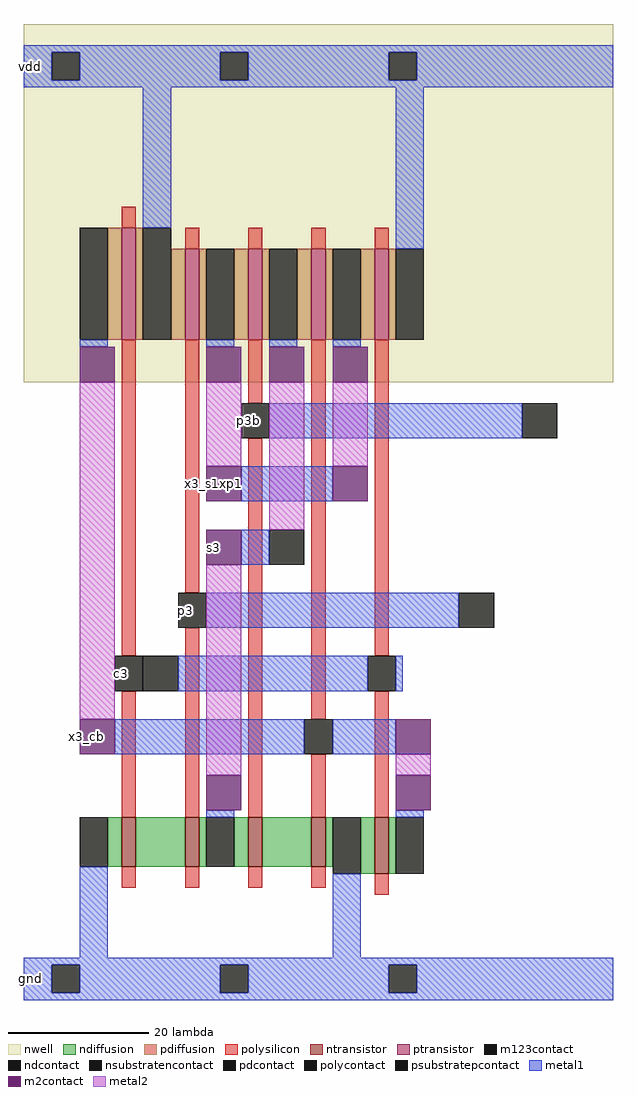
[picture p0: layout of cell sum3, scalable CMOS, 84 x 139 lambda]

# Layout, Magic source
magic
tech scmos
<< nwell >>
rect 0 88 84 139
<< ntransistor >>
rect 14 19 16 26
rect 23 19 25 26
rect 32 19 34 26
rect 41 19 43 26
rect 50 18 52 26
<< ptransistor >>
rect 14 94 16 110
rect 23 94 25 107
rect 32 94 34 107
rect 41 94 43 107
rect 50 94 52 107
<< ndiffusion >>
rect 12 19 14 26
rect 16 19 23 26
rect 25 19 26 26
rect 30 19 32 26
rect 34 19 41 26
rect 43 19 44 26
rect 48 18 50 26
rect 52 18 53 26
<< pdiffusion >>
rect 12 94 14 110
rect 16 94 17 110
rect 21 94 23 107
rect 25 94 26 107
rect 30 94 32 107
rect 34 94 35 107
rect 39 94 41 107
rect 43 94 44 107
rect 48 94 50 107
rect 52 94 53 107
<< ndcontact >>
rect 8 19 12 26
rect 26 19 30 26
rect 44 18 48 26
rect 53 18 57 26
<< pdcontact >>
rect 8 94 12 110
rect 17 94 21 110
rect 26 94 30 107
rect 35 94 39 107
rect 44 94 48 107
rect 53 94 57 107
<< psubstratepcontact >>
rect 4 1 8 5
rect 28 1 32 5
rect 52 1 56 5
<< nsubstratencontact >>
rect 4 131 8 135
rect 28 131 32 135
rect 52 131 56 135
<< polysilicon >>
rect 14 110 16 113
rect 23 107 25 110
rect 32 107 34 110
rect 41 107 43 110
rect 50 107 52 110
rect 14 49 16 94
rect 23 58 25 94
rect 32 85 34 94
rect 14 26 16 44
rect 23 26 25 53
rect 32 26 34 80
rect 41 40 43 94
rect 50 49 52 94
rect 41 26 43 35
rect 50 26 52 44
rect 14 16 16 19
rect 23 16 25 19
rect 32 16 34 19
rect 41 16 43 19
rect 50 15 52 18
<< polycontact >>
rect 31 80 35 85
rect 22 53 26 58
rect 13 44 17 49
rect 49 44 53 49
rect 40 35 44 40
<< metal1 >>
rect 0 135 84 136
rect 0 131 4 135
rect 8 131 28 135
rect 32 131 52 135
rect 56 131 84 135
rect 0 130 84 131
rect 17 110 21 130
rect 53 107 57 130
rect 8 93 12 94
rect 26 93 30 94
rect 35 93 39 94
rect 44 93 48 94
rect 35 80 71 85
rect 31 71 44 76
rect 31 62 35 67
rect 26 53 62 58
rect 22 44 49 49
rect 53 44 54 49
rect 13 35 40 40
rect 44 35 53 40
rect 26 26 30 27
rect 53 26 57 27
rect 8 6 12 19
rect 44 6 48 18
rect 0 5 84 6
rect 0 1 4 5
rect 8 1 28 5
rect 32 1 52 5
rect 56 1 84 5
rect 0 0 84 1
<< m2contact >>
rect 8 88 13 93
rect 26 88 31 93
rect 35 88 40 93
rect 44 88 49 93
rect 26 71 31 76
rect 44 71 49 76
rect 26 62 31 67
rect 8 35 13 40
rect 53 35 58 40
rect 26 27 31 32
rect 53 27 58 32
<< metal2 >>
rect 8 40 13 88
rect 26 76 31 88
rect 35 67 40 88
rect 44 76 49 88
rect 26 32 31 62
rect 53 32 58 35
<< m123contact >>
rect 71 80 76 85
rect 35 62 40 67
rect 17 44 22 49
rect 62 53 67 58
<< labels >>
rlabel metal1 13 44 15 49 0 c3
port 1 nsew
rlabel metal1 22 53 24 58 0 p3
port 2 nsew
rlabel metal1 31 80 33 85 0 p3b
port 3 nsew
rlabel m2contact 26 62 28 67 0 s3
port 4 nsew
rlabel m2contact 8 35 10 40 0 x3_cb
rlabel m2contact 26 71 28 76 0 x3_s1xp1
rlabel metal1 0 130 2 136 0 vdd
port 5 nsew
rlabel metal1 0 0 2 6 0 gnd
port 6 nsew
<< end >>
